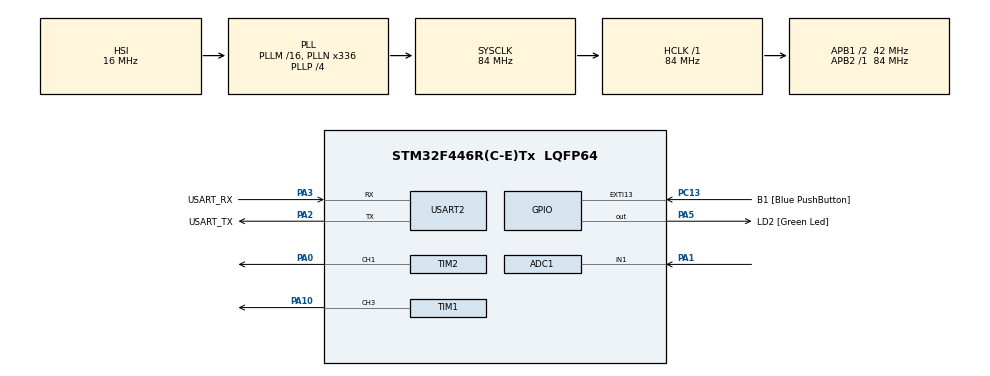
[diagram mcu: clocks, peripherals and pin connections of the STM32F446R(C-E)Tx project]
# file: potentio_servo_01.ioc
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ADC1.Channel-0\#ChannelRegularConversion=ADC_CHANNEL_1
ADC1.NbrOfConversionFlag=1
ADC1.Rank-0\#ChannelRegularConversion=1
ADC1.SamplingTime-0\#ChannelRegularConversion=ADC_SAMPLETIME_3CYCLES
ADC1.master=1
Mcu.Family=STM32F4
Mcu.Name=STM32F446R(C-E)Tx
Mcu.Package=LQFP64
NVIC.PriorityGroup=NVIC_PRIORITYGROUP_0
PA0-WKUP.Signal=S_TIM2_CH1_ETR
PA1.Signal=ADCx_IN1
PA10.Signal=S_TIM1_CH3
PA13.GPIO_Label=TMS
PA13.Mode=Serial_Wire
PA13.Signal=SYS_JTMS-SWDIO
PA14.GPIO_Label=TCK
PA14.Mode=Serial_Wire
PA14.Signal=SYS_JTCK-SWCLK
PA2.GPIO_Label=USART_TX
PA2.Mode=Asynchronous
PA2.Signal=USART2_TX
PA3.GPIO_Label=USART_RX
PA3.Mode=Asynchronous
PA3.Signal=USART2_RX
PA5.GPIO_Label=LD2 [Green Led]
PA5.Signal=GPIO_Output
PB3.GPIO_Label=SWO
PB3.Signal=SYS_JTDO-SWO
PC13.GPIO_Label=B1 [Blue PushButton]
PC13.GPIO_ModeDefaultEXTI=GPIO_MODE_IT_FALLING
PC13.Signal=GPXTI13
PC14-OSC32_IN.Mode=LSE-External-Oscillator
PC14-OSC32_IN.Signal=RCC_OSC32_IN
PC15-OSC32_OUT.Mode=LSE-External-Oscillator
PC15-OSC32_OUT.Signal=RCC_OSC32_OUT
PH0-OSC_IN.Mode=HSE-External-Oscillator
PH0-OSC_IN.Signal=RCC_OSC_IN
PH1-OSC_OUT.Mode=HSE-External-Oscillator
PH1-OSC_OUT.Signal=RCC_OSC_OUT
ProjectManager.HeapSize=0x200
ProjectManager.StackSize=0x400
ProjectManager.TargetToolchain=STM32CubeIDE
RCC.48MHZClocksFreq_Value=84000000
RCC.AHBFreq_Value=84000000
RCC.APB1CLKDivider=RCC_HCLK_DIV2
RCC.APB1Freq_Value=42000000
RCC.APB1TimFreq_Value=84000000
RCC.APB2Freq_Value=84000000
RCC.APB2TimFreq_Value=84000000
RCC.CortexFreq_Value=84000000
RCC.FLatency-AdvancedSettings=FLASH_LATENCY_2
RCC.HCLKFreq_Value=84000000
RCC.HSE_VALUE=8000000
RCC.HSI_VALUE=16000000
RCC.PLLN=336
RCC.PLLP=RCC_PLLP_DIV4
RCC.SYSCLKFreq_VALUE=84000000
RCC.SYSCLKSource=RCC_SYSCLKSOURCE_PLLCLK
RCC.USBFreq_Value=168000000
RCC.VCOOutputFreq_Value=336000000
SH.ADCx_IN1.0=ADC1_IN1,IN1
SH.S_TIM1_CH3.0=TIM1_CH3,PWM Generation3 CH3
SH.S_TIM2_CH1_ETR.0=TIM2_CH1,PWM Generation1 CH1
TIM1.AutoReloadPreload=TIM_AUTORELOAD_PRELOAD_ENABLE
TIM1.Channel-PWM\ Generation3\ CH3=TIM_CHANNEL_3
TIM1.Period=1000
TIM1.Prescaler=840
TIM2.AutoReloadPreload=TIM_AUTORELOAD_PRELOAD_ENABLE
TIM2.Channel-PWM\ Generation1\ CH1=TIM_CHANNEL_1
TIM2.Period=1000
TIM2.Prescaler=1680
USART2.VirtualMode=VM_ASYNC
board=NUCLEO-F446RE

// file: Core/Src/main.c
/* USER CODE BEGIN Header */
/**
  ******************************************************************************
  * @file           : main.c
  * @brief          : Main program body
  ******************************************************************************
  * @attention
  *
  * Copyright (c) 2023 STMicroelectronics.
  * All rights reserved.
  *
  * This software is licensed under terms that can be found in the LICENSE file
  * in the root directory of this software component.
  * If no LICENSE file comes with this software, it is provided AS-IS.
  *
  ******************************************************************************
  */
/* USER CODE END Header */
#include "main.h"

/* USER CODE BEGIN Includes */
#include <stdio.h>
#include <string.h>
/* USER CODE END Includes */

ADC_HandleTypeDef hadc1;

TIM_HandleTypeDef htim1;
TIM_HandleTypeDef htim2;

UART_HandleTypeDef huart2;

void SystemClock_Config(void);
static void MX_GPIO_Init(void);
static void MX_USART2_UART_Init(void);
static void MX_ADC1_Init(void);
static void MX_TIM2_Init(void);
static void MX_TIM1_Init(void);

int main(void)
{

  /* MCU Configuration--------------------------------------------------------*/

  /* Reset of all peripherals, Initializes the Flash interface and the Systick. */
  HAL_Init();

  /* Configure the system clock */
  SystemClock_Config();

  /* Initialize all configured peripherals */
  MX_GPIO_Init();
  MX_USART2_UART_Init();
  MX_ADC1_Init();
  MX_TIM2_Init();
  MX_TIM1_Init();
  /* USER CODE BEGIN 2 */
  HAL_TIM_PWM_Start(&htim2, TIM_CHANNEL_1);
  HAL_TIM_PWM_Start(&htim1, TIM_CHANNEL_3);

  uint16_t raw;
  char buf[10];
  uint16_t dutycycle;
  /* USER CODE END 2 */

  /* Infinite loop */
  /* USER CODE BEGIN WHILE */
  while (1)
  {
	  HAL_ADC_Start(&hadc1);
	  //RETRIEVING VALUES FROM ADC/POTENTIOMETER
	  HAL_ADC_PollForConversion(&hadc1, 10000);
	  raw=HAL_ADC_GetValue(&hadc1);

	  //MAPPING ADC VALUE TO USE FOR LED INTENSITY

	  dutycycle=(raw*100)/4095;

	  //USING ADC VALUE TO CONTROL LED
	  __HAL_TIM_SET_COMPARE(&htim1, TIM_CHANNEL_3, dutycycle);
	  __HAL_TIM_SET_COMPARE(&htim2, TIM_CHANNEL_1,	dutycycle);

	  //CONVERTING ADC VALUES INTO STRING
	  sprintf(buf, "%hu\r\n", raw);

	  //TRANSMITTING TO PUTTY USING UART
	  HAL_UART_Transmit(&huart2, (uint8_t*)buf, strlen(buf), HAL_MAX_DELAY);

	  HAL_Delay(3);

    /* USER CODE END WHILE */

  }
}

void SystemClock_Config(void)
{
  RCC_OscInitTypeDef RCC_OscInitStruct = {0};
  RCC_ClkInitTypeDef RCC_ClkInitStruct = {0};

  /** Configure the main internal regulator output voltage
  */
  __HAL_RCC_PWR_CLK_ENABLE();
  __HAL_PWR_VOLTAGESCALING_CONFIG(PWR_REGULATOR_VOLTAGE_SCALE3);

  /** Initializes the RCC Oscillators according to the specified parameters
  * in the RCC_OscInitTypeDef structure.
  */
  RCC_OscInitStruct.OscillatorType = RCC_OSCILLATORTYPE_HSI;
  RCC_OscInitStruct.HSIState = RCC_HSI_ON;
  RCC_OscInitStruct.HSICalibrationValue = RCC_HSICALIBRATION_DEFAULT;
  RCC_OscInitStruct.PLL.PLLState = RCC_PLL_ON;
  RCC_OscInitStruct.PLL.PLLSource = RCC_PLLSOURCE_HSI;
  RCC_OscInitStruct.PLL.PLLM = 16;
  RCC_OscInitStruct.PLL.PLLN = 336;
  RCC_OscInitStruct.PLL.PLLP = RCC_PLLP_DIV4;
  RCC_OscInitStruct.PLL.PLLQ = 2;
  RCC_OscInitStruct.PLL.PLLR = 2;
  if (HAL_RCC_OscConfig(&RCC_OscInitStruct) != HAL_OK)
  {
    Error_Handler();
  }

  /** Initializes the CPU, AHB and APB buses clocks
  */
  RCC_ClkInitStruct.ClockType = RCC_CLOCKTYPE_HCLK|RCC_CLOCKTYPE_SYSCLK
                              |RCC_CLOCKTYPE_PCLK1|RCC_CLOCKTYPE_PCLK2;
  RCC_ClkInitStruct.SYSCLKSource = RCC_SYSCLKSOURCE_PLLCLK;
  RCC_ClkInitStruct.AHBCLKDivider = RCC_SYSCLK_DIV1;
  RCC_ClkInitStruct.APB1CLKDivider = RCC_HCLK_DIV2;
  RCC_ClkInitStruct.APB2CLKDivider = RCC_HCLK_DIV1;

  if (HAL_RCC_ClockConfig(&RCC_ClkInitStruct, FLASH_LATENCY_2) != HAL_OK)
  {
    Error_Handler();
  }
}

static void MX_ADC1_Init(void)
{

  ADC_ChannelConfTypeDef sConfig = {0};

  /** Configure the global features of the ADC (Clock, Resolution, Data Alignment and number of conversion)
  */
  hadc1.Instance = ADC1;
  hadc1.Init.ClockPrescaler = ADC_CLOCK_SYNC_PCLK_DIV4;
  hadc1.Init.Resolution = ADC_RESOLUTION_12B;
  hadc1.Init.ScanConvMode = DISABLE;
  hadc1.Init.ContinuousConvMode = DISABLE;
  hadc1.Init.DiscontinuousConvMode = DISABLE;
  hadc1.Init.ExternalTrigConvEdge = ADC_EXTERNALTRIGCONVEDGE_NONE;
  hadc1.Init.ExternalTrigConv = ADC_SOFTWARE_START;
  hadc1.Init.DataAlign = ADC_DATAALIGN_RIGHT;
  hadc1.Init.NbrOfConversion = 1;
  hadc1.Init.DMAContinuousRequests = DISABLE;
  hadc1.Init.EOCSelection = ADC_EOC_SINGLE_CONV;
  if (HAL_ADC_Init(&hadc1) != HAL_OK)
  {
    Error_Handler();
  }

  /** Configure for the selected ADC regular channel its corresponding rank in the sequencer and its sample time.
  */
  sConfig.Channel = ADC_CHANNEL_1;
  sConfig.Rank = 1;
  sConfig.SamplingTime = ADC_SAMPLETIME_3CYCLES;
  if (HAL_ADC_ConfigChannel(&hadc1, &sConfig) != HAL_OK)
  {
    Error_Handler();
  }

}

static void MX_TIM1_Init(void)
{

  TIM_MasterConfigTypeDef sMasterConfig = {0};
  TIM_OC_InitTypeDef sConfigOC = {0};
  TIM_BreakDeadTimeConfigTypeDef sBreakDeadTimeConfig = {0};

  htim1.Instance = TIM1;
  htim1.Init.Prescaler = 840;
  htim1.Init.CounterMode = TIM_COUNTERMODE_UP;
  htim1.Init.Period = 1000;
  htim1.Init.ClockDivision = TIM_CLOCKDIVISION_DIV1;
  htim1.Init.RepetitionCounter = 0;
  htim1.Init.AutoReloadPreload = TIM_AUTORELOAD_PRELOAD_ENABLE;
  if (HAL_TIM_PWM_Init(&htim1) != HAL_OK)
  {
    Error_Handler();
  }
  sMasterConfig.MasterOutputTrigger = TIM_TRGO_RESET;
  sMasterConfig.MasterSlaveMode = TIM_MASTERSLAVEMODE_DISABLE;
  if (HAL_TIMEx_MasterConfigSynchronization(&htim1, &sMasterConfig) != HAL_OK)
  {
    Error_Handler();
  }
  sConfigOC.OCMode = TIM_OCMODE_PWM1;
  sConfigOC.Pulse = 0;
  sConfigOC.OCPolarity = TIM_OCPOLARITY_HIGH;
  sConfigOC.OCNPolarity = TIM_OCNPOLARITY_HIGH;
  sConfigOC.OCFastMode = TIM_OCFAST_DISABLE;
  sConfigOC.OCIdleState = TIM_OCIDLESTATE_RESET;
  sConfigOC.OCNIdleState = TIM_OCNIDLESTATE_RESET;
  if (HAL_TIM_PWM_ConfigChannel(&htim1, &sConfigOC, TIM_CHANNEL_3) != HAL_OK)
  {
    Error_Handler();
  }
  sBreakDeadTimeConfig.OffStateRunMode = TIM_OSSR_DISABLE;
  sBreakDeadTimeConfig.OffStateIDLEMode = TIM_OSSI_DISABLE;
  sBreakDeadTimeConfig.LockLevel = TIM_LOCKLEVEL_OFF;
  sBreakDeadTimeConfig.DeadTime = 0;
  sBreakDeadTimeConfig.BreakState = TIM_BREAK_DISABLE;
  sBreakDeadTimeConfig.BreakPolarity = TIM_BREAKPOLARITY_HIGH;
  sBreakDeadTimeConfig.AutomaticOutput = TIM_AUTOMATICOUTPUT_DISABLE;
  if (HAL_TIMEx_ConfigBreakDeadTime(&htim1, &sBreakDeadTimeConfig) != HAL_OK)
  {
    Error_Handler();
  }
  HAL_TIM_MspPostInit(&htim1);

}

static void MX_TIM2_Init(void)
{

  TIM_MasterConfigTypeDef sMasterConfig = {0};
  TIM_OC_InitTypeDef sConfigOC = {0};

  htim2.Instance = TIM2;
  htim2.Init.Prescaler = 1680;
  htim2.Init.CounterMode = TIM_COUNTERMODE_UP;
  htim2.Init.Period = 1000;
  htim2.Init.ClockDivision = TIM_CLOCKDIVISION_DIV1;
  htim2.Init.AutoReloadPreload = TIM_AUTORELOAD_PRELOAD_ENABLE;
  if (HAL_TIM_PWM_Init(&htim2) != HAL_OK)
  {
    Error_Handler();
  }
  sMasterConfig.MasterOutputTrigger = TIM_TRGO_RESET;
  sMasterConfig.MasterSlaveMode = TIM_MASTERSLAVEMODE_DISABLE;
  if (HAL_TIMEx_MasterConfigSynchronization(&htim2, &sMasterConfig) != HAL_OK)
  {
    Error_Handler();
  }
  sConfigOC.OCMode = TIM_OCMODE_PWM1;
  sConfigOC.Pulse = 0;
  sConfigOC.OCPolarity = TIM_OCPOLARITY_HIGH;
  sConfigOC.OCFastMode = TIM_OCFAST_DISABLE;
  if (HAL_TIM_PWM_ConfigChannel(&htim2, &sConfigOC, TIM_CHANNEL_1) != HAL_OK)
  {
    Error_Handler();
  }
  HAL_TIM_MspPostInit(&htim2);

}

static void MX_USART2_UART_Init(void)
{

  huart2.Instance = USART2;
  huart2.Init.BaudRate = 115200;
  huart2.Init.WordLength = UART_WORDLENGTH_8B;
  huart2.Init.StopBits = UART_STOPBITS_1;
  huart2.Init.Parity = UART_PARITY_NONE;
  huart2.Init.Mode = UART_MODE_TX_RX;
  huart2.Init.HwFlowCtl = UART_HWCONTROL_NONE;
  huart2.Init.OverSampling = UART_OVERSAMPLING_16;
  if (HAL_UART_Init(&huart2) != HAL_OK)
  {
    Error_Handler();
  }

}

static void MX_GPIO_Init(void)
{
  GPIO_InitTypeDef GPIO_InitStruct = {0};

  /* GPIO Ports Clock Enable */
  __HAL_RCC_GPIOC_CLK_ENABLE();
  __HAL_RCC_GPIOH_CLK_ENABLE();
  __HAL_RCC_GPIOA_CLK_ENABLE();
  __HAL_RCC_GPIOB_CLK_ENABLE();

  /*Configure GPIO pin Output Level */
  HAL_GPIO_WritePin(LD2_GPIO_Port, LD2_Pin, GPIO_PIN_RESET);

  /*Configure GPIO pin : B1_Pin */
  GPIO_InitStruct.Pin = B1_Pin;
  GPIO_InitStruct.Mode = GPIO_MODE_IT_FALLING;
  GPIO_InitStruct.Pull = GPIO_NOPULL;
  HAL_GPIO_Init(B1_GPIO_Port, &GPIO_InitStruct);

  /*Configure GPIO pin : LD2_Pin */
  GPIO_InitStruct.Pin = LD2_Pin;
  GPIO_InitStruct.Mode = GPIO_MODE_OUTPUT_PP;
  GPIO_InitStruct.Pull = GPIO_NOPULL;
  GPIO_InitStruct.Speed = GPIO_SPEED_FREQ_LOW;
  HAL_GPIO_Init(LD2_GPIO_Port, &GPIO_InitStruct);

}

void Error_Handler(void)
{
  __disable_irq();
  while (1)
  {
  }
}
